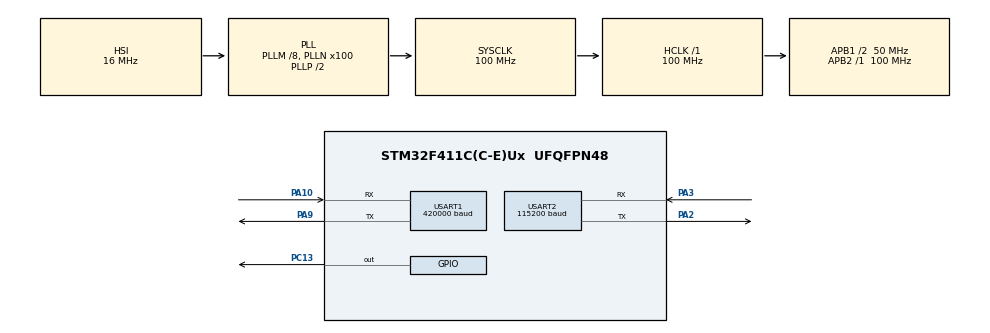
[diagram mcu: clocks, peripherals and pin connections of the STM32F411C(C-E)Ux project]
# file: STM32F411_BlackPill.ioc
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Dma.Request0=USART1_RX
Dma.Request1=USART2_TX
Dma.USART1_RX.0.Direction=DMA_PERIPH_TO_MEMORY
Dma.USART1_RX.0.FIFOMode=DMA_FIFOMODE_DISABLE
Dma.USART1_RX.0.Instance=DMA2_Stream2
Dma.USART1_RX.0.MemDataAlignment=DMA_MDATAALIGN_BYTE
Dma.USART1_RX.0.MemInc=DMA_MINC_ENABLE
Dma.USART1_RX.0.Mode=DMA_NORMAL
Dma.USART1_RX.0.PeriphDataAlignment=DMA_PDATAALIGN_BYTE
Dma.USART1_RX.0.PeriphInc=DMA_PINC_DISABLE
Dma.USART1_RX.0.Priority=DMA_PRIORITY_MEDIUM
Dma.USART2_TX.1.Direction=DMA_MEMORY_TO_PERIPH
Dma.USART2_TX.1.FIFOMode=DMA_FIFOMODE_DISABLE
Dma.USART2_TX.1.Instance=DMA1_Stream6
Dma.USART2_TX.1.MemDataAlignment=DMA_MDATAALIGN_BYTE
Dma.USART2_TX.1.MemInc=DMA_MINC_ENABLE
Dma.USART2_TX.1.Mode=DMA_NORMAL
Dma.USART2_TX.1.PeriphDataAlignment=DMA_PDATAALIGN_BYTE
Dma.USART2_TX.1.PeriphInc=DMA_PINC_DISABLE
Dma.USART2_TX.1.Priority=DMA_PRIORITY_LOW
Mcu.Family=STM32F4
Mcu.Name=STM32F411C(C-E)Ux
Mcu.Package=UFQFPN48
NVIC.DMA1_Stream6_IRQn=true\:0\:0\:false\:false\:true\:false\:true\:true
NVIC.DMA2_Stream2_IRQn=true\:0\:0\:false\:false\:true\:false\:true\:true
NVIC.PriorityGroup=NVIC_PRIORITYGROUP_4
NVIC.USART1_IRQn=true\:0\:0\:false\:false\:true\:true\:true\:true
NVIC.USART2_IRQn=true\:0\:0\:false\:false\:true\:true\:true\:true
PA10.GPIO_PuPd=GPIO_PULLUP
PA10.Mode=Asynchronous
PA10.Signal=USART1_RX
PA2.GPIO_PuPd=GPIO_PULLUP
PA2.Mode=Asynchronous
PA2.Signal=USART2_TX
PA3.Mode=Asynchronous
PA3.Signal=USART2_RX
PA9.Mode=Asynchronous
PA9.Signal=USART1_TX
PC13-ANTI_TAMP.GPIO_PuPd=GPIO_PULLDOWN
PC13-ANTI_TAMP.Signal=GPIO_Output
ProjectManager.HeapSize=0x200
ProjectManager.StackSize=0x400
ProjectManager.TargetToolchain=STM32CubeIDE
RCC.48MHZClocksFreq_Value=50000000
RCC.AHBFreq_Value=100000000
RCC.APB1CLKDivider=RCC_HCLK_DIV2
RCC.APB1Freq_Value=50000000
RCC.APB1TimFreq_Value=100000000
RCC.APB2Freq_Value=100000000
RCC.APB2TimFreq_Value=100000000
RCC.CortexFreq_Value=100000000
RCC.HCLKFreq_Value=100000000
RCC.HSE_VALUE=25000000
RCC.HSI_VALUE=16000000
RCC.LSE_VALUE=32768
RCC.PLLM=8
RCC.PLLN=100
RCC.SYSCLKFreq_VALUE=100000000
RCC.SYSCLKSource=RCC_SYSCLKSOURCE_PLLCLK
RCC.VCOOutputFreq_Value=200000000
USART1.BaudRate=420000
USART1.Mode=MODE_RX
USART1.VirtualMode=VM_ASYNC
USART2.BaudRate=115200
USART2.Mode=MODE_TX
USART2.VirtualMode=VM_ASYNC
board=custom

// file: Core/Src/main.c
/* USER CODE BEGIN Header */
/**
  ******************************************************************************
  * @file           : main.c
  * @brief          : Main program body
  ******************************************************************************
  * @attention
  *
  * Copyright (c) 2025 STMicroelectronics.
  * All rights reserved.
  *
  * This software is licensed under terms that can be found in the LICENSE file
  * in the root directory of this software component.
  * If no LICENSE file comes with this software, it is provided AS-IS.
  *
  ******************************************************************************
  */
/* USER CODE END Header */
#include "main.h"

/* USER CODE BEGIN Includes */
#include <stdint.h>
#include <stdio.h>
#include <string.h>

#define SYNC_BYTE 0xC8 	//Number that signifies the beginning of a CRSF packet.
#define CRC8 0xD5		//The polynomial used for the CRC-8 calculation.
#define UART1_RX_BUFFER_SIZE 128

uint8_t uart1_rx_buffer[UART1_RX_BUFFER_SIZE]= {0};
uint8_t packet[24];
uint16_t channel[16] = {0};
_Bool error_flag = 0;
_Bool send_flag = 0;
char error[5]={"Error"};

//An enumeration that maps packet type bytes to meaningful names
typedef enum {
    GPS = 0x02,
    VARIO = 0x07,
    BATTERY_SENSOR = 0x08,
    BARO_ALT = 0x09,
    HEARTBEAT = 0x0B,
    VIDEO_TRANSMITTER = 0x0F,
    LINK_STATISTICS = 0x14,
    RC_CHANNELS_PACKED = 0x16,
    ATTITUDE = 0x1E,
    FLIGHT_MODE = 0x21,
    DEVICE_INFO = 0x29,
    CONFIG_READ = 0x2C,
    CONFIG_WRITE = 0x2D,
    RADIO_ID = 0x3A
} PacketType;

// CRC-8 with polynomial 0xD5 (used by CRSF)
uint8_t crc8_d5(const uint8_t *data, uint8_t len)
{
	uint8_t crc = 0;
	for (uint8_t i = 0; i < len; i++)
	{
		crc ^= data[i];
		for (uint8_t j = 0; j < 8; j++)
		{
			if (crc & 0x80)
				crc = (crc << 1) ^ 0xD5;
			else
				crc <<= 1;
		}
	}
	return crc;
}

void unpackCh(const uint8_t *data, uint16_t *out)
{
	uint32_t bitBuffer = 0;
	int bitCount = 0;
	int outIndex = 0;

	for (int i = 0; i < 22; i++)
	{
		bitBuffer |= ((uint32_t) data[i]) << bitCount;
		bitCount += 8;

		while (bitCount >= 11)
		{
			out[outIndex++] = bitBuffer & 0x7FF; // extract 11 bits (0x7FF = 2047)
			bitBuffer >>= 11;
			bitCount -= 11;
		}
	}
}

/* USER CODE END Includes */

UART_HandleTypeDef huart1;
UART_HandleTypeDef huart2;
DMA_HandleTypeDef hdma_usart1_rx;
DMA_HandleTypeDef hdma_usart2_tx;

void SystemClock_Config(void);
static void MX_GPIO_Init(void);
static void MX_DMA_Init(void);
static void MX_USART2_UART_Init(void);
static void MX_USART1_UART_Init(void);

int main(void)
{

  /* MCU Configuration--------------------------------------------------------*/

  /* Reset of all peripherals, Initializes the Flash interface and the Systick. */
  HAL_Init();

  /* Configure the system clock */
  SystemClock_Config();

  /* Initialize all configured peripherals */
  MX_GPIO_Init();
  MX_DMA_Init();
  MX_USART2_UART_Init();
  MX_USART1_UART_Init();
  /* USER CODE BEGIN 2 */
  HAL_UARTEx_ReceiveToIdle_DMA(&huart1, uart1_rx_buffer, UART1_RX_BUFFER_SIZE);

  /* USER CODE END 2 */

  /* Infinite loop */
  /* USER CODE BEGIN WHILE */
  while (1)
  {

	  //HAL_UART_Transmit(&huart2, uart1_rx_buffer, UART1_RX_BUFFER_SIZE, HAL_MAX_DELAY);

	    // Wait for 500 milliseconds (half a second)

	    		if (channel[1] > 1000)
	    		{
	    			HAL_GPIO_WritePin(GPIOA, GPIO_PIN_13, GPIO_PIN_RESET);
	    		}
	    		else
	    		{
	    			HAL_GPIO_WritePin(GPIOA, GPIO_PIN_13, GPIO_PIN_SET);
	    		}
	    		HAL_Delay(500);

	    		if (send_flag)
	    		{
	    			char buffer[512]; // Increased buffer size for the full string
	    			int offset = 0;
	    			offset += sprintf(buffer + offset, "\r\n");
	    			for (int i = 0; i < 16; i++)
	    			{
	    				offset += sprintf(buffer + offset, "Ch%d: %u\r\n", i + 1, channel[i]);
	    			}
	    			HAL_UART_Transmit(&huart2, (uint8_t*) buffer, strlen(buffer), HAL_MAX_DELAY);
	    			send_flag = 0;
	    		}

	    		 HAL_UARTEx_ReceiveToIdle_DMA(&huart1, uart1_rx_buffer, UART1_RX_BUFFER_SIZE);

    /* USER CODE END WHILE */

  }
}

void SystemClock_Config(void)
{
  RCC_OscInitTypeDef RCC_OscInitStruct = {0};
  RCC_ClkInitTypeDef RCC_ClkInitStruct = {0};

  /** Configure the main internal regulator output voltage
  */
  __HAL_RCC_PWR_CLK_ENABLE();
  __HAL_PWR_VOLTAGESCALING_CONFIG(PWR_REGULATOR_VOLTAGE_SCALE1);

  /** Initializes the RCC Oscillators according to the specified parameters
  * in the RCC_OscInitTypeDef structure.
  */
  RCC_OscInitStruct.OscillatorType = RCC_OSCILLATORTYPE_HSI;
  RCC_OscInitStruct.HSIState = RCC_HSI_ON;
  RCC_OscInitStruct.HSICalibrationValue = RCC_HSICALIBRATION_DEFAULT;
  RCC_OscInitStruct.PLL.PLLState = RCC_PLL_ON;
  RCC_OscInitStruct.PLL.PLLSource = RCC_PLLSOURCE_HSI;
  RCC_OscInitStruct.PLL.PLLM = 8;
  RCC_OscInitStruct.PLL.PLLN = 100;
  RCC_OscInitStruct.PLL.PLLP = RCC_PLLP_DIV2;
  RCC_OscInitStruct.PLL.PLLQ = 4;
  if (HAL_RCC_OscConfig(&RCC_OscInitStruct) != HAL_OK)
  {
    Error_Handler();
  }

  /** Initializes the CPU, AHB and APB buses clocks
  */
  RCC_ClkInitStruct.ClockType = RCC_CLOCKTYPE_HCLK|RCC_CLOCKTYPE_SYSCLK
                              |RCC_CLOCKTYPE_PCLK1|RCC_CLOCKTYPE_PCLK2;
  RCC_ClkInitStruct.SYSCLKSource = RCC_SYSCLKSOURCE_PLLCLK;
  RCC_ClkInitStruct.AHBCLKDivider = RCC_SYSCLK_DIV1;
  RCC_ClkInitStruct.APB1CLKDivider = RCC_HCLK_DIV2;
  RCC_ClkInitStruct.APB2CLKDivider = RCC_HCLK_DIV1;

  if (HAL_RCC_ClockConfig(&RCC_ClkInitStruct, FLASH_LATENCY_3) != HAL_OK)
  {
    Error_Handler();
  }
}

static void MX_USART1_UART_Init(void)
{

  huart1.Instance = USART1;
  huart1.Init.BaudRate = 420000;
  huart1.Init.WordLength = UART_WORDLENGTH_8B;
  huart1.Init.StopBits = UART_STOPBITS_1;
  huart1.Init.Parity = UART_PARITY_NONE;
  huart1.Init.Mode = UART_MODE_RX;
  huart1.Init.HwFlowCtl = UART_HWCONTROL_NONE;
  huart1.Init.OverSampling = UART_OVERSAMPLING_16;
  if (HAL_UART_Init(&huart1) != HAL_OK)
  {
    Error_Handler();
  }

}

static void MX_USART2_UART_Init(void)
{

  huart2.Instance = USART2;
  huart2.Init.BaudRate = 115200;
  huart2.Init.WordLength = UART_WORDLENGTH_8B;
  huart2.Init.StopBits = UART_STOPBITS_1;
  huart2.Init.Parity = UART_PARITY_NONE;
  huart2.Init.Mode = UART_MODE_TX;
  huart2.Init.HwFlowCtl = UART_HWCONTROL_NONE;
  huart2.Init.OverSampling = UART_OVERSAMPLING_16;
  if (HAL_UART_Init(&huart2) != HAL_OK)
  {
    Error_Handler();
  }

}

static void MX_DMA_Init(void)
{

  /* DMA controller clock enable */
  __HAL_RCC_DMA2_CLK_ENABLE();
  __HAL_RCC_DMA1_CLK_ENABLE();

  /* DMA interrupt init */
  /* DMA1_Stream6_IRQn interrupt configuration */
  HAL_NVIC_SetPriority(DMA1_Stream6_IRQn, 0, 0);
  HAL_NVIC_EnableIRQ(DMA1_Stream6_IRQn);
  /* DMA2_Stream2_IRQn interrupt configuration */
  HAL_NVIC_SetPriority(DMA2_Stream2_IRQn, 0, 0);
  HAL_NVIC_EnableIRQ(DMA2_Stream2_IRQn);

}

static void MX_GPIO_Init(void)
{
  GPIO_InitTypeDef GPIO_InitStruct = {0};

  /* GPIO Ports Clock Enable */
  __HAL_RCC_GPIOC_CLK_ENABLE();
  __HAL_RCC_GPIOA_CLK_ENABLE();

  /*Configure GPIO pin Output Level */
  HAL_GPIO_WritePin(GPIOC, GPIO_PIN_13, GPIO_PIN_RESET);

  /*Configure GPIO pin : PC13 */
  GPIO_InitStruct.Pin = GPIO_PIN_13;
  GPIO_InitStruct.Mode = GPIO_MODE_OUTPUT_PP;
  GPIO_InitStruct.Pull = GPIO_PULLDOWN;
  GPIO_InitStruct.Speed = GPIO_SPEED_FREQ_LOW;
  HAL_GPIO_Init(GPIOC, &GPIO_InitStruct);

}

/* USER CODE BEGIN 4 */

/////////////////////////////////////////////////////////////////////////////////////////////////////////////////////////////
void HAL_UARTEx_RxEventCallback(UART_HandleTypeDef *huart, uint16_t Size)
{
    if (huart->Instance == USART1)
    {
        uint8_t i = 0;
        while (i < Size)
        {
            if (uart1_rx_buffer[i] == SYNC_BYTE)
            {
                // Check if the received data is large enough to contain a full packet
                if (Size >= (i + uart1_rx_buffer[i + 1] + 2))
                {
                    uint8_t len = uart1_rx_buffer[i + 1];

                    // Copy the packet's payload and CRC
                    memcpy(packet, &uart1_rx_buffer[i + 2], len);

                    uint8_t received_crc = packet[len - 1];
                    uint8_t computed_crc = crc8_d5(packet, len - 1);

                    // Check if CRC is correct and packet is a channel packet
                    if ((computed_crc == received_crc) && (packet[0] == RC_CHANNELS_PACKED))
                    {
                    	unpackCh(packet + 1, channel);
                    	send_flag = 1;
                    }

                    // Advance 'i' by the packet size so the next search starts after this packet.
                    i += len + 2;
                }
                else
                {
                    // Incomplete packet, stop parsing for this event
                    break;
                }
            }
            else
            {
                // No sync byte found, advance to the next byte
                i++;
            }
        }

        // Restart the reception
        HAL_UARTEx_ReceiveToIdle_DMA(&huart1, uart1_rx_buffer, UART1_RX_BUFFER_SIZE);
    }
}
/////////////////////////////////////////////////////////////////////////////////////////////////////////////////////////

/* USER CODE END 4 */

void Error_Handler(void)
{
  __disable_irq();
  while (1)
  {
  }
}
